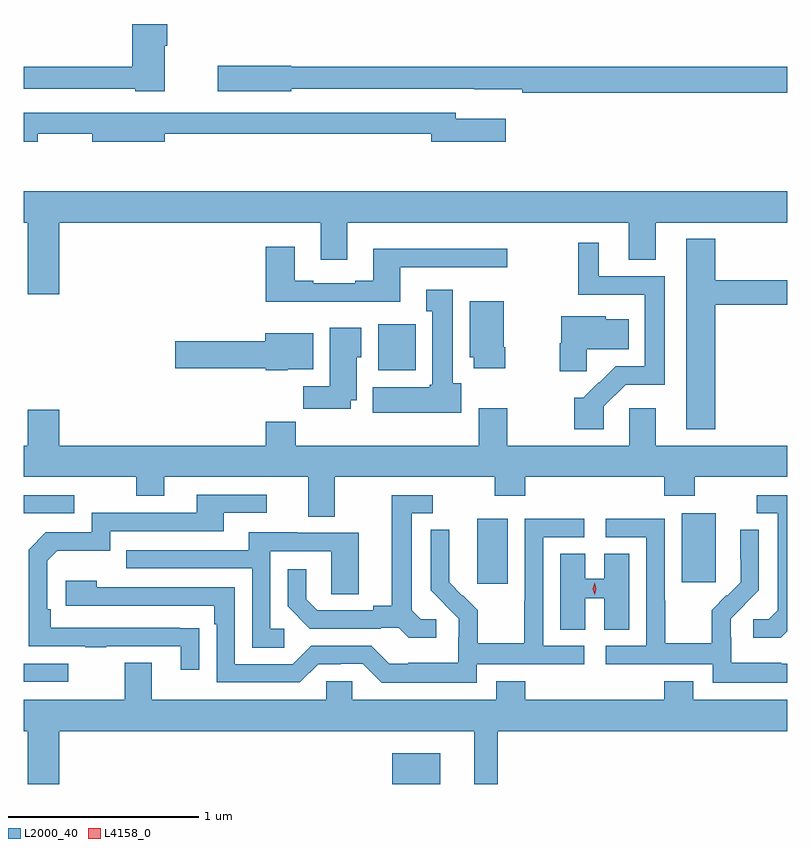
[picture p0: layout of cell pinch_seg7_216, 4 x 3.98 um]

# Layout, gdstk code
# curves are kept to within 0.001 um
import gdstk
lib = gdstk.Library(unit=1e-6, precision=1e-09)
def R(c, l, rs):  # rectangles x0, y0, x1, y1
    for r in rs: c.add(gdstk.rectangle(r[:2], r[2:], *l))
def P(c, l, *ps):  # polygons
    for p in ps: c.add(gdstk.Polygon(p, *l))
L2000_40 = (2000, 40)
L4158_0 = (4158, 0)

pinch_seg7_216 = lib.new_cell('pinch_seg7_216')
R(pinch_seg7_216, L2000_40, [(706.376,1033.64,706.627,1033.801), (704.445,1034.175,704.68,1034.271), (706.82,1034.688,706.981,1035.028), (707.891,1034.697,708.07,1035.058), (704.445,1035.057,704.71,1035.153), (706.301,1035.806,706.498,1036.048)])
P(pinch_seg7_216, L2000_40, [(705.184,1037.507),(705.197,1037.507),(705.197,1037.62),(705.014,1037.62),(705.014,1037.396),(704.445,1037.396),(704.445,1037.28),(705.03,1037.28),(705.03,1037.267),(705.184,1037.267)],
  [(708.445,1037.396),(705.846,1037.396),(705.846,1037.402),(705.462,1037.402),(705.462,1037.267),(705.846,1037.267),(705.846,1037.28),(706.804,1037.28),(706.804,1037.279),(707.056,1037.279),(707.056,1037.26),(708.445,1037.26)],
  [(704.518,1037.046),(704.804,1037.046),(704.804,1037.003),(705.184,1037.003),(705.184,1037.046),(706.58,1037.046),(706.58,1037.003),(706.969,1037.003),(706.969,1037.125),(706.708,1037.125),(706.708,1037.154),(704.445,1037.154),(704.445,1037.003),(704.518,1037.003)],
  [(704.632,1036.58),(706.001,1036.58),(706.001,1036.386),(706.141,1036.386),(706.141,1036.58),(707.615,1036.58),(707.615,1036.386),(707.755,1036.386),(707.755,1036.58),(708.445,1036.58),(708.445,1036.744),(704.445,1036.744),(704.445,1036.58),(704.468,1036.58),(704.468,1036.206),(704.632,1036.206)],
  [(708.068,1036.15),(708.445,1036.15),(708.445,1036.279),(708.068,1036.279),(708.068,1036.495),(707.915,1036.495),(707.915,1035.497),(708.068,1035.497)],
  [(707.484,1035.618),(707.598,1035.732),(707.803,1035.732),(707.803,1036.299),(707.458,1036.299),(707.458,1036.474),(707.349,1036.474),(707.349,1036.203),(707.699,1036.203),(707.699,1035.829),(707.545,1035.829),(707.459,1035.742),(707.457,1035.744),(707.377,1035.664),(707.329,1035.664),(707.329,1035.498),(707.484,1035.498)],
  [(706.417,1036.347),(706.978,1036.347),(706.978,1036.444),(706.277,1036.444),(706.277,1036.276),(706.181,1036.276),(706.181,1036.263),(705.961,1036.263),(705.961,1036.276),(705.865,1036.276),(705.865,1036.453),(705.713,1036.453),(705.713,1036.166),(706.417,1036.166)],
  [(706.738,1035.738),(706.693,1035.738),(706.693,1036.228),(706.553,1036.228),(706.553,1036.115),(706.586,1036.115),(706.586,1035.732),(706.573,1035.732),(706.573,1035.718),(706.274,1035.718),(706.274,1035.584),(706.738,1035.584)],
  [(706.968,1035.928),(706.96,1035.928),(706.96,1036.168),(706.781,1036.168),(706.781,1035.876),(706.802,1035.876),(706.802,1035.816),(706.968,1035.816)],
  [(707.393,1035.917),(707.614,1035.917),(707.614,1036.075),(707.493,1036.075),(707.493,1036.09),(707.261,1036.09),(707.261,1035.948),(707.254,1035.948),(707.254,1035.801),(707.393,1035.801)],
  [(706.159,1035.65),(706.189,1035.65),(706.189,1035.876),(706.213,1035.876),(706.213,1036.03),(706.049,1036.03),(706.049,1035.724),(705.91,1035.724),(705.91,1035.606),(706.159,1035.606)],
  [(705.828,1035.812),(705.961,1035.812),(705.961,1036),(705.71,1036),(705.71,1035.959),(705.24,1035.959),(705.24,1035.817),(705.714,1035.817),(705.714,1035.806),(705.828,1035.806)],
  [(706.075,1035.248),(706.912,1035.248),(706.912,1035.149),(707.072,1035.149),(707.072,1035.248),(707.801,1035.248),(707.801,1035.149),(707.961,1035.149),(707.961,1035.248),(708.445,1035.248),(708.445,1035.412),(707.755,1035.412),(707.755,1035.607),(707.616,1035.607),(707.616,1035.412),(706.977,1035.412),(706.977,1035.607),(706.829,1035.607),(706.829,1035.412),(705.869,1035.412),(705.869,1035.536),(705.713,1035.536),(705.713,1035.412),(704.632,1035.412),(704.632,1035.601),(704.468,1035.601),(704.468,1035.412),(704.445,1035.412),(704.445,1035.248),(705.034,1035.248),(705.034,1035.149),(705.181,1035.149),(705.181,1035.248),(705.935,1035.248),(705.935,1035.04),(706.075,1035.04)],
  [(705.365,1034.456),(704.588,1034.457),(704.588,1034.554),(704.568,1034.554),(704.568,1034.808),(704.621,1034.861),(704.898,1034.861),(704.898,1034.964),(705.493,1034.964),(705.493,1035.06),(705.718,1035.06),(705.718,1035.156),(705.353,1035.156),(705.353,1035.06),(704.802,1035.06),(704.802,1034.958),(704.562,1034.958),(704.472,1034.868),(704.472,1034.361),(704.767,1034.361),(704.767,1034.356),(704.879,1034.356),(704.879,1034.361),(705.269,1034.361),(705.269,1034.238),(705.365,1034.238)],
  [(708.445,1034.44),(708.445,1035.153),(708.285,1035.153),(708.285,1035.057),(708.395,1035.057),(708.395,1034.549),(708.348,1034.502),(708.267,1034.502),(708.267,1034.405),(708.41,1034.405)],
  [(706.606,1034.502),(706.524,1034.502),(706.477,1034.549),(706.477,1035.057),(706.588,1035.057),(706.588,1035.153),(706.373,1035.153),(706.373,1034.573),(706.277,1034.573),(706.277,1034.55),(705.982,1034.55),(705.925,1034.607),(705.925,1034.764),(705.828,1034.764),(705.828,1034.57),(705.944,1034.454),(706.316,1034.454),(706.316,1034.457),(706.41,1034.457),(706.462,1034.405),(706.606,1034.405)],
  [(706.818,1034.268),(707.38,1034.268),(707.38,1034.364),(707.166,1034.364),(707.166,1034.931),(707.38,1034.931),(707.38,1035.03),(707.07,1035.03),(707.07,1034.6),(707.068,1034.6),(707.068,1034.377),(706.823,1034.377),(706.823,1034.551),(706.746,1034.628),(706.743,1034.625),(706.673,1034.696),(706.673,1034.8),(706.675,1034.8),(706.675,1034.972),(706.578,1034.972),(706.578,1034.654),(706.724,1034.506),(706.724,1034.409),(706.722,1034.409),(706.722,1034.275),(706.459,1034.275),(706.459,1034.271),(706.359,1034.271),(706.266,1034.364),(705.951,1034.364),(705.855,1034.268),(705.552,1034.268),(705.552,1034.67),(704.828,1034.67),(704.828,1034.704),(704.667,1034.704),(704.667,1034.574),(705.443,1034.574),(705.443,1034.477),(705.456,1034.477),(705.456,1034.172),(705.891,1034.172),(705.987,1034.268),(706.106,1034.268),(706.106,1034.271),(706.221,1034.271),(706.321,1034.171),(706.818,1034.171)],
  [(708.445,1034.271),(708.413,1034.271),(708.413,1034.275),(708.15,1034.275),(708.15,1034.409),(708.148,1034.409),(708.148,1034.506),(708.294,1034.654),(708.294,1034.972),(708.198,1034.972),(708.198,1034.818),(708.2,1034.818),(708.2,1034.696),(708.129,1034.625),(708.126,1034.628),(708.049,1034.551),(708.049,1034.377),(707.805,1034.377),(707.805,1034.6),(707.802,1034.6),(707.802,1035.03),(707.493,1035.03),(707.493,1034.931),(707.706,1034.931),(707.706,1034.364),(707.493,1034.364),(707.493,1034.268),(708.054,1034.268),(708.054,1034.171),(708.445,1034.171)],
  [(705.811,1034.454),(705.738,1034.454),(705.738,1034.859),(706.056,1034.859),(706.056,1034.635),(706.201,1034.635),(706.201,1034.955),(705.877,1034.955),(705.877,1034.959),(705.623,1034.959),(705.623,1034.865),(704.983,1034.865),(704.983,1034.769),(705.642,1034.769),(705.642,1034.353),(705.811,1034.353)],
  [(707.386,1034.614),(707.486,1034.614),(707.486,1034.449),(707.617,1034.449),(707.617,1034.846),(707.486,1034.846),(707.486,1034.714),(707.386,1034.714),(707.386,1034.846),(707.255,1034.846),(707.255,1034.449),(707.386,1034.449)],
  [(704.632,1033.916),(706.805,1033.916),(706.805,1033.64),(706.927,1033.64),(706.927,1033.916),(708.445,1033.916),(708.445,1034.08),(707.953,1034.08),(707.953,1034.179),(707.801,1034.179),(707.801,1034.08),(707.072,1034.08),(707.072,1034.179),(706.919,1034.179),(706.919,1034.08),(706.167,1034.08),(706.167,1034.178),(706.029,1034.178),(706.029,1034.08),(705.115,1034.08),(705.115,1034.275),(704.975,1034.275),(704.975,1034.08),(704.445,1034.08),(704.445,1033.916),(704.468,1033.916),(704.468,1033.64),(704.632,1033.64)])
P(pinch_seg7_216, L4158_0, [(707.435,1034.631),(707.435,1034.631),(707.425,1034.662),(707.435,1034.693),(707.435,1034.693),(707.435,1034.693),(707.445,1034.662),(707.435,1034.631)])

lib.write_gds('pinch_seg7_216.gds')
